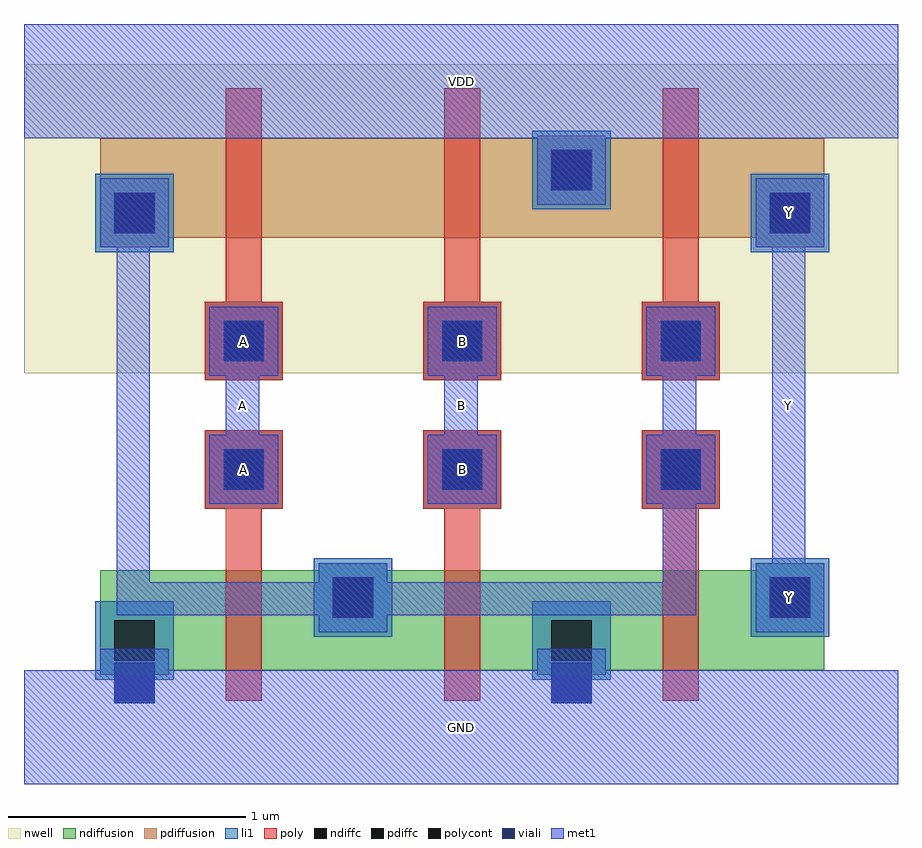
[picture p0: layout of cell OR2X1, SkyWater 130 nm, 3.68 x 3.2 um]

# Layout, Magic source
magic
# Generated by librecell
tech sky130A
<< nwell >>
rect 0 149 368 272
rect 1 272 368 279
<< viali >>
rect 38 10 55 27
rect 222 10 239 27
rect 130 46 147 63
rect 314 46 331 63
rect 84 100 101 117
rect 176 100 193 117
rect 268 100 285 117
rect 84 154 101 171
rect 176 154 193 171
rect 268 154 285 171
rect 38 208 55 225
rect 314 208 331 225
rect 222 226 239 243
<< poly >>
rect 85 11 100 92
rect 76 92 109 125
rect 177 11 192 92
rect 168 92 201 125
rect 269 11 284 92
rect 260 92 293 125
rect 76 146 109 179
rect 85 179 100 269
rect 168 146 201 179
rect 177 179 192 269
rect 260 146 293 179
rect 269 179 284 269
<< properties >>
string FIXED_BBOX 0 0 368 272
<< li1 >>
rect 38 10 55 20
rect 30 20 63 53
rect 222 10 239 20
rect 214 20 247 53
rect 122 38 155 71
rect 306 38 339 71
rect 76 92 109 125
rect 168 92 201 125
rect 260 92 293 125
rect 76 146 109 179
rect 168 146 201 179
rect 260 146 293 179
rect 30 200 63 233
rect 306 200 339 233
rect 214 218 247 251
<< met1 >>
rect 0 -24 368 24
rect 32 24 61 33
rect 216 24 245 33
rect 78 94 107 123
rect 85 123 99 148
rect 78 148 107 177
rect 170 94 199 123
rect 177 123 191 148
rect 170 148 199 177
rect 124 40 153 47
rect 39 47 283 61
rect 124 61 153 69
rect 269 61 283 94
rect 262 94 291 123
rect 269 123 283 148
rect 262 148 291 177
rect 39 61 53 202
rect 32 202 61 231
rect 308 40 337 69
rect 315 69 329 202
rect 308 202 337 231
rect 216 220 245 248
rect 0 248 368 296
<< li1 >>
<< met1 >>
<< li1 >>
<< met1 >>
rect 0 -24 368 24
rect 78 94 107 123
rect 85 123 99 148
rect 78 148 107 177
rect 170 94 199 123
rect 177 123 191 148
rect 170 148 199 177
rect 308 40 337 69
rect 315 69 329 202
rect 308 202 337 231
rect 0 248 368 296
<< ndiffusion >>
rect 32 22 61 24
rect 216 22 245 24
rect 32 24 337 66
rect 124 66 153 69
rect 308 66 337 69
<< pdiffusion >>
rect 32 202 61 206
rect 308 202 337 206
rect 32 206 337 248
rect 216 248 245 249
<< polycont >>
rect 84 100 101 117
rect 176 100 193 117
rect 268 100 285 117
rect 84 154 101 171
rect 176 154 193 171
rect 268 154 285 171
<< pdiffc >>
rect 38 208 55 225
rect 314 208 331 225
rect 222 226 239 243
<< ndiffc >>
rect 38 28 55 45
rect 222 28 239 45
rect 130 46 147 63
rect 314 46 331 63
<< labels >>
rlabel metal2 0 248 368 296 0 VDD
port 1 se
rlabel metal2 0 -24 368 24 0 GND
port 2 se
rlabel metal2 308 40 337 69 0 Y
port 3 se
rlabel metal2 315 69 329 202 0 Y
port 4 se
rlabel metal2 308 202 337 231 0 Y
port 5 se
rlabel metal2 170 94 199 123 0 B
port 6 se
rlabel metal2 177 123 191 148 0 B
port 7 se
rlabel metal2 170 148 199 177 0 B
port 8 se
rlabel metal2 78 94 107 123 0 A
port 9 se
rlabel metal2 85 123 99 148 0 A
port 10 se
rlabel metal2 78 148 107 177 0 A
port 11 se
<< end >>
